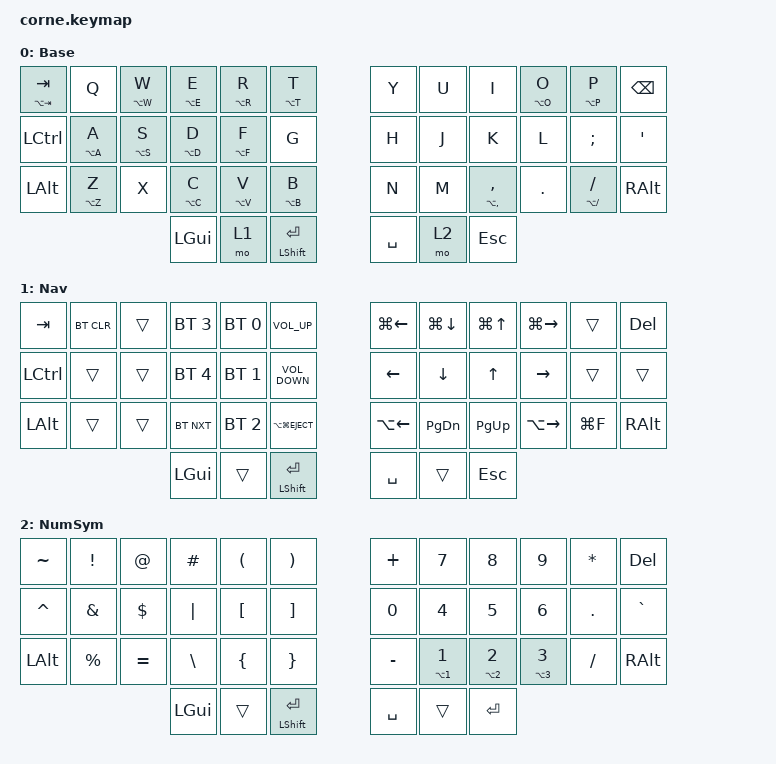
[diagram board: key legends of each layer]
/*
 * Copyright (c) 2020 The ZMK Contributors
 *
 * SPDX-License-Identifier: MIT
 */

#include <behaviors.dtsi>
#include <dt-bindings/zmk/bt.h>
#include <dt-bindings/zmk/keys.h>

/ {
    behaviors {
        hm: hold_mods {
            compatible = "zmk,behavior-hold-tap";
            #binding-cells = <2>;
            tapping-term-ms = <300>;
            quick-tap-ms = <200>;
            require-prior-idle-ms = <150>;
            flavor = "tap-preferred";
            bindings = <&kp>, <&kp>;
        };
    };

    combos {
        compatible = "zmk,combos";

        Cut {
            bindings = <&kp LG(X)>;
            key-positions = <25 26>;
            timeout-ms = <50>;
            require-prior-idle-ms = <75>;
            layers = <0>;
        };

        Copy {
            bindings = <&kp LG(C)>;
            key-positions = <26 27>;
            timeout-ms = <50>;
            require-prior-idle-ms = <75>;
            layers = <0>;
        };

        Paste {
            bindings = <&kp LG(V)>;
            key-positions = <27 28>;
            timeout-ms = <50>;
            require-prior-idle-ms = <75>;
            layers = <0>;
        };

        Wispr_Paste {
            bindings = <&kp LC(LG(V))>;
            key-positions = <31 32>;
            require-prior-idle-ms = <75>;
            timeout-ms = <50>;
            layers = <0>;
        };

        Wispr_Talk {
            bindings = <&kp LCTRL>;
            key-positions = <32 33>;
            layers = <0>;
            timeout-ms = <50>;
            require-prior-idle-ms = <75>;
        };

        Wispr_HandsFree {
            bindings = <&kp LC(SPACE)>;
            key-positions = <33 34>;
            layers = <0>;
            timeout-ms = <50>;
            require-prior-idle-ms = <75>;
        };
    };

    keymap {
        compatible = "zmk,keymap";

        default_layer {
            // -----------------------------------------------------------------------------------------
            // |  TAB |  Q  |  W  |  E  |  R  |  T  |   |  Y  |  U   |  I  |  O  |  P  | BKSP |
            // | CTRL |  A  |  S  |  D  |  F  |  G  |   |  H  |  J   |  K  |  L  |  ;  |  '   |
            // | SHFT |  Z  |  X  |  C  |  V  |  B  |   |  N  |  M   |  ,  |  .  |  /  | ESC  |
            //                    | GUI | LWR | SPC |   | ENT | RSE  | ALT |

            display-name = "Base";
            bindings = <
&hm LA(TAB) TAB  &kp Q        &hm LA(W) W  &hm LA(E) E  &hm LA(R) R  &hm LA(T) T      &kp Y      &kp U  &kp I                &hm LA(O) O  &hm LA(P) P         &kp BSPC
&kp LCTRL        &hm LA(A) A  &hm LA(S) S  &hm LA(D) D  &hm LA(F) F  &kp G            &kp H      &kp J  &kp K                &kp L        &kp SEMICOLON       &kp SQT
&kp LEFT_ALT     &hm LA(Z) Z  &kp X        &hm LA(C) C  &hm LA(V) V  &hm LA(B) B      &kp N      &kp M  &hm LA(COMMA) COMMA  &kp DOT      &hm LA(FSLH) SLASH  &kp RIGHT_ALT
                                           &kp LGUI     &mo 1        &mt LSHFT RET    &kp SPACE  &mo 2  &kp ESCAPE
            >;
        };

        lower_layer {
            // -----------------------------------------------------------------------------------------
            // |  TAB |  1  |  2  |  3  |  4  |  5  |   |  6  |  7  |  8  |  9  |  0  | BKSP |
            // | BTCLR| BT1 | BT2 | BT3 | BT4 | BT5 |   | LFT | DWN |  UP | RGT |     |      |
            // | SHFT |     |     |     |     |     |   |     |     |     |     |     |      |
            //                    | GUI |     | SPC |   | ENT |     | ALT |

            display-name = "Nav";
            bindings = <
&kp TAB       &bt BT_CLR  &trans  &bt BT_SEL 3  &bt BT_SEL 0  &kp C_VOLUME_UP         &kp LG(LEFT_ARROW)  &kp LG(DOWN_ARROW)  &kp LG(UP_ARROW)  &kp LG(RIGHT_ARROW)  &trans     &kp DEL
&kp LCTRL     &trans      &trans  &bt BT_SEL 4  &bt BT_SEL 1  &kp K_VOLUME_DOWN       &kp LEFT            &kp DOWN            &kp UP            &kp RIGHT            &trans     &trans
&kp LEFT_ALT  &trans      &trans  &bt BT_NXT    &bt BT_SEL 2  &kp LA(LG(C_EJECT))     &kp LA(LEFT)        &kp PAGE_DOWN       &kp PAGE_UP       &kp LA(RIGHT)        &kp LG(F)  &kp RIGHT_ALT
                                  &kp LGUI      &trans        &mt LEFT_SHIFT ENTER    &kp SPACE           &trans              &kp ESCAPE
            >;
        };

        raise_layer {
            // -----------------------------------------------------------------------------------------
            // |  TAB |  !  |  @  |  #  |  $  |  %  |   |  ^  |  &  |  *  |  (  |  )  | BKSP |
            // | CTRL |     |     |     |     |     |   |  -  |  =  |  [  |  ]  |  \  |  `   |
            // | SHFT |     |     |     |     |     |   |  _  |  +  |  {  |  }  | "|" |  ~   |
            //                    | GUI |     | SPC |   | ENT |     | ALT |

            display-name = "NumSym";
            bindings = <
&kp TILDE     &kp EXCL     &kp AT      &kp HASH       &kp LEFT_PARENTHESIS  &kp RIGHT_PARENTHESIS    &kp PLUS   &kp NUMBER_7               &kp N8                     &kp N9                     &kp ASTERISK  &kp DEL
&kp CARET     &kp AMPS     &kp DOLLAR  &kp PIPE       &kp LEFT_BRACKET      &kp RIGHT_BRACKET        &kp N0     &kp N4                     &kp NUMBER_5               &kp NUMBER_6               &kp PERIOD    &kp GRAVE
&kp LEFT_ALT  &kp PERCENT  &kp EQUAL   &kp BACKSLASH  &kp LEFT_BRACE        &kp RIGHT_BRACE          &kp MINUS  &hm LA(NUMBER_1) NUMBER_1  &hm LA(NUMBER_2) NUMBER_2  &hm LA(NUMBER_3) NUMBER_3  &kp SLASH     &kp RIGHT_ALT
                                       &kp LGUI       &trans                &mt LEFT_SHIFT ENTER     &kp SPACE  &trans                     &kp ENTER
            >;
        };
    };
};
